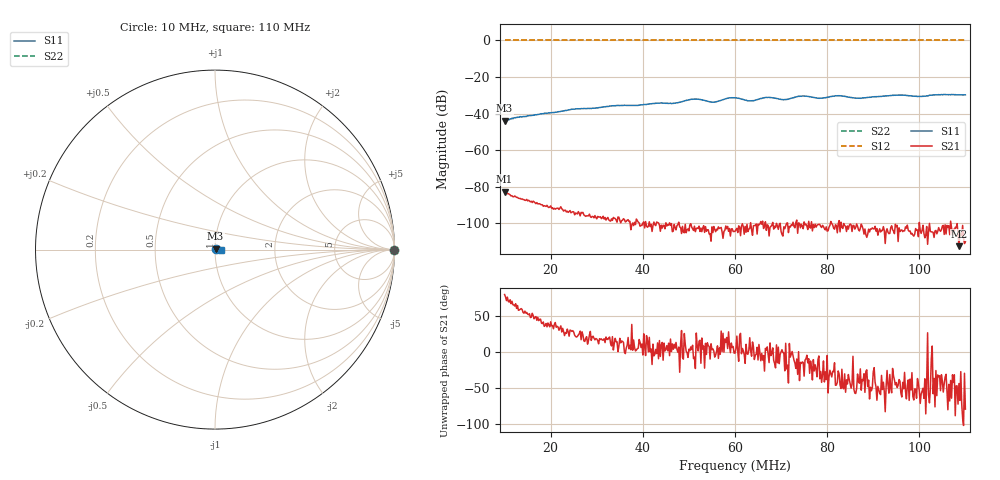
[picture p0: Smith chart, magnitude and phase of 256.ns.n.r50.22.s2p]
! Anritsu VNA Master:  Model: MS2036C/10/77
! SN:  1601066
! /card0/usr/256.ns.n.r50.22.s2p
! Existing Calibration Information:
! TYPE:  Current Settings,  Active Cal Settings
! TIME:  12/19/2017 04:18:53 PM,  12/19/2017 03:58:02 PM
! INTERNAL TEMP:  46.3 C,  47.0 C
! # POINTS:  501,  501
! START FREQ:  10.000 MHz,  10.000 MHz
! STOP FREQ:  110.000 MHz,  110.000 MHz
! SOURCE POWER:  High,  High
! IFBW:  100 Hz,  100 Hz
! AVG FACTOR:  1 ,  1
! REF PLANE 1:  0 mm,  0 mm
! REF PLANE 2:  0 mm,  0 mm
! CAL TYPE:  Full S11,  Full S11
! CAL METHOD:  SOLT,  SOLT
! CAL LINE TYPE:  Coax,  Coax
! DUT PORT 1:  N-Conn(F),  N-Conn(F)
! DUT PORT 2:  K-Conn(F),  K-Conn(F)
! CAL STATUS:  OK: Accuracy High,  --
# GHZ S DB R 50.0
! FREQ.GHZ  S11DB  S11A  S21DB  S21A  S12DB  S12A  S22DB  S22A
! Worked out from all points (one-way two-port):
!   501 points, 10 MHz to 110 MHz, reference 50 ohm
!   highest |S21| = -82.63 dB at 10 MHz (marker M1); lowest = -112.5 dB at 108.6 MHz (marker M2)
!   lowest |S11| = -44.0 dB at 10 MHz (marker M3), VSWR 1.01, Z = 50.4 + j0.528 ohm
!   |S11| at or under -10 dB: start of sweep to end of sweep
!   |S22| runs from 0.0 to 0.0 dB; largest |S21 - S12| = 1
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0.01  -43.96 55.9  -82.63 80.2  0.00 0.0  0.00 0.0
0.013  -41.90 57.2  -86.29 58.4  0.00 0.0  0.00 0.0
0.0268  -37.27 52.2  -94.19 28.4  0.00 0.0  0.00 0.0
0.0434  -34.29 41.2  -99.81 -9.0  0.00 0.0  0.00 0.0
0.0466  -34.41 36.6  -104.28 4.1  0.00 0.0  0.00 0.0
0.0514  -32.03 38.1  -104.58 -22.5  0.00 0.0  0.00 0.0
0.0554  -33.76 35.0  -101.78 1.7  0.00 0.0  0.00 0.0
0.0586  -31.47 29.9  -104.38 28.3  0.00 0.0  0.00 0.0
0.06  -31.35 36.0  -104.45 -1.2  0.00 0.0  0.00 0.0
0.0634  -33.05 31.7  -99.66 1.9  0.00 0.0  0.00 0.0
0.067  -31.21 27.8  -100.83 7.5  0.00 0.0  0.00 0.0
0.0706  -32.43 26.2  -101.93 -0.6  0.00 0.0  0.00 0.0
0.0742  -30.49 21.4  -102.47 -14.0  0.00 0.0  0.00 0.0
0.0768  -31.04 26.8  -104.18 -38.4  0.00 0.0  0.00 0.0
0.0786  -31.52 21.6  -101.71 -26.6  0.00 0.0  0.00 0.0
0.0826  -30.21 20.3  -98.55 -30.1  0.00 0.0  0.00 0.0
0.087  -31.60 15.9  -104.20 -43.0  0.00 0.0  0.00 0.0
0.0934  -30.24 7.1  -105.66 -56.8  0.00 0.0  0.00 0.0
0.1  -30.54 5.5  -99.52 -53.5  0.00 0.0  0.00 0.0
0.1038  -29.71 0.8  -105.77 -60.3  0.00 0.0  0.00 0.0
0.1086  -29.69 0.9  -112.53 -43.4  0.00 0.0  0.00 0.0
0.11  -29.75 0.7  -110.12 -79.0  0.00 0.0  0.00 0.0
